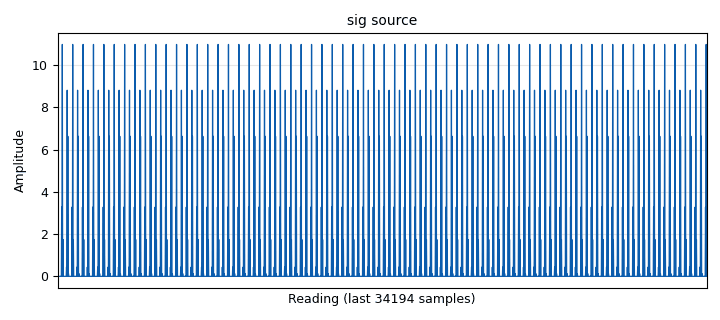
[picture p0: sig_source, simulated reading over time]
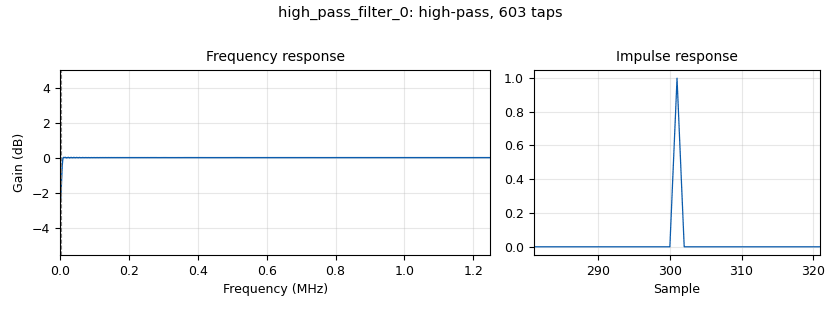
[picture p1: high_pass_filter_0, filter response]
<?xml version='1.0' encoding='utf-8'?>
<?grc format='1' created='3.7.10'?>
<flow_graph>
<block>
<key>options</key>
<param><key>id</key><value>top_block</value></param>
<param><key>category</key><value>Custom</value></param>
<param><key>generate_options</key><value>wx_gui</value></param>
</block>
<block>
<key>variable</key>
<param><key>id</key><value>fft1</value></param>
<param><key>value</key><value>128</value></param>
</block>
<block>
<key>variable</key>
<param><key>id</key><value>samp_rate</value></param>
<param><key>value</key><value>2.5e6</value></param>
</block>
<block>
<key>wxgui_numbersink2</key>
<param><key>id</key><value>actual_data</value></param>
<param><key>avg_alpha</key><value>0</value></param>
<param><key>average</key><value>False</value></param>
<param><key>decimal_places</key><value>5</value></param>
<param><key>factor</key><value>1.0</value></param>
<param><key>max_value</key><value>100</value></param>
<param><key>min_value</key><value>-100</value></param>
<param><key>number_rate</key><value>15</value></param>
<param><key>peak_hold</key><value>True</value></param>
<param><key>ref_level</key><value>0</value></param>
<param><key>samp_rate</key><value>samp_rate</value></param>
<param><key>show_gauge</key><value>True</value></param>
<param><key>title</key><value>actual</value></param>
<param><key>type</key><value>float</value></param>
<param><key>units</key><value>Units</value></param>
</block>
<block>
<key>analog_sig_source_x</key>
<param><key>id</key><value>analog_sig_source_x_0</value></param>
<param><key>amp</key><value>1</value></param>
<param><key>freq</key><value>467.563e6</value></param>
<param><key>offset</key><value>0</value></param>
<param><key>type</key><value>complex</value></param>
<param><key>samp_rate</key><value>samp_rate</value></param>
<param><key>waveform</key><value>analog.GR_SIN_WAVE</value></param>
</block>
<block>
<key>blocks_complex_to_arg</key>
<param><key>id</key><value>blocks_complex_to_arg_0</value></param>
</block>
<block>
<key>blocks_complex_to_arg</key>
<param><key>id</key><value>blocks_complex_to_arg_0_0</value></param>
</block>
<block>
<key>blocks_complex_to_mag</key>
<param><key>id</key><value>blocks_complex_to_mag_0</value></param>
</block>
<block>
<key>blocks_complex_to_mag</key>
<param><key>id</key><value>blocks_complex_to_mag_0_0</value></param>
</block>
<block>
<key>blocks_keep_one_in_n</key>
<param><key>id</key><value>blocks_keep_one_in_n_0</value></param>
<param><key>type</key><value>complex</value></param>
</block>
<block>
<key>blocks_keep_one_in_n</key>
<param><key>id</key><value>blocks_keep_one_in_n_0_0</value></param>
<param><key>type</key><value>complex</value></param>
</block>
<block>
<key>blocks_skiphead</key>
<param><key>id</key><value>blocks_skiphead_0</value></param>
<param><key>num_items</key><value>9</value></param>
<param><key>type</key><value>complex</value></param>
</block>
<block>
<key>blocks_skiphead</key>
<param><key>id</key><value>blocks_skiphead_0_0</value></param>
<param><key>num_items</key><value>9</value></param>
<param><key>type</key><value>complex</value></param>
</block>
<block>
<key>blocks_stream_to_vector</key>
<param><key>id</key><value>blocks_stream_to_vector_0</value></param>
<param><key>type</key><value>complex</value></param>
<param><key>num_items</key><value>fft1</value></param>
</block>
<block>
<key>blocks_stream_to_vector</key>
<param><key>id</key><value>blocks_stream_to_vector_0_0</value></param>
<param><key>type</key><value>complex</value></param>
<param><key>num_items</key><value>32</value></param>
</block>
<block>
<key>blocks_sub_xx</key>
<param><key>id</key><value>blocks_sub_xx_0</value></param>
<param><key>type</key><value>int</value></param>
</block>
<block>
<key>blocks_throttle</key>
<param><key>id</key><value>blocks_throttle_0</value></param>
<param><key>samples_per_second</key><value>samp_rate</value></param>
<param><key>type</key><value>complex</value></param>
</block>
<block>
<key>blocks_vector_to_stream</key>
<param><key>id</key><value>blocks_vector_to_stream_0</value></param>
<param><key>type</key><value>complex</value></param>
<param><key>num_items</key><value>fft1</value></param>
</block>
<block>
<key>blocks_vector_to_stream</key>
<param><key>id</key><value>blocks_vector_to_stream_0_0</value></param>
<param><key>type</key><value>complex</value></param>
<param><key>num_items</key><value>32</value></param>
</block>
<block>
<key>fft_vxx</key>
<param><key>id</key><value>fft_vxx_0</value></param>
<param><key>fft_size</key><value>128</value></param>
<param><key>forward</key><value>True</value></param>
<param><key>type</key><value>complex</value></param>
<param><key>shift</key><value>True</value></param>
<param><key>window</key><value>window.blackmanharris(128)</value></param>
</block>
<block>
<key>fft_vxx</key>
<param><key>id</key><value>fft_vxx_0_0</value></param>
<param><key>fft_size</key><value>32</value></param>
<param><key>forward</key><value>True</value></param>
<param><key>type</key><value>complex</value></param>
<param><key>shift</key><value>True</value></param>
<param><key>window</key><value>window.blackmanharris(32)</value></param>
</block>
<block>
<key>high_pass_filter</key>
<param><key>id</key><value>high_pass_filter_0</value></param>
<param><key>cutoff_freq</key><value>1000</value></param>
<param><key>decim</key><value>1</value></param>
<param><key>type</key><value>fir_filter_ccf</value></param>
<param><key>gain</key><value>1</value></param>
<param><key>samp_rate</key><value>samp_rate</value></param>
<param><key>width</key><value>10000</value></param>
<param><key>win</key><value>firdes.WIN_HAMMING</value></param>
</block>
<block>
<key>wxgui_numbersink2</key>
<param><key>id</key><value>phase</value></param>
<param><key>avg_alpha</key><value>0</value></param>
<param><key>average</key><value>False</value></param>
<param><key>decimal_places</key><value>10</value></param>
<param><key>factor</key><value>1.0</value></param>
<param><key>max_value</key><value>100</value></param>
<param><key>min_value</key><value>-100</value></param>
<param><key>number_rate</key><value>15</value></param>
<param><key>peak_hold</key><value>False</value></param>
<param><key>ref_level</key><value>0</value></param>
<param><key>samp_rate</key><value>samp_rate</value></param>
<param><key>show_gauge</key><value>True</value></param>
<param><key>title</key><value>Number Plot</value></param>
<param><key>type</key><value>float</value></param>
<param><key>units</key><value>Units</value></param>
</block>
<block>
<key>rtlsdr_source</key>
<param><key>id</key><value>rtlsdr_source_0</value></param>
<param><key>bb_gain0</key><value>20</value></param>
<param><key>dc_offset_mode0</key><value>1</value></param>
<param><key>freq0</key><value>467.562e6</value></param>
<param><key>gain_mode0</key><value>False</value></param>
<param><key>if_gain0</key><value>20</value></param>
<param><key>gain0</key><value>10</value></param>
<param><key>args</key><value></value></param>
<param><key>type</key><value>fc32</value></param>
<param><key>sample_rate</key><value>samp_rate</value></param>
<param><key>sync</key><value></value></param>
</block>
<block>
<key>wxgui_numbersink2</key>
<param><key>id</key><value>sig_source</value></param>
<param><key>avg_alpha</key><value>0</value></param>
<param><key>average</key><value>False</value></param>
<param><key>decimal_places</key><value>5</value></param>
<param><key>factor</key><value>1.0</value></param>
<param><key>max_value</key><value>100</value></param>
<param><key>min_value</key><value>-100</value></param>
<param><key>number_rate</key><value>15</value></param>
<param><key>peak_hold</key><value>True</value></param>
<param><key>ref_level</key><value>0</value></param>
<param><key>samp_rate</key><value>samp_rate</value></param>
<param><key>show_gauge</key><value>True</value></param>
<param><key>title</key><value>sig source</value></param>
<param><key>type</key><value>float</value></param>
<param><key>units</key><value>Units</value></param>
</block>
<block>
<key>wxgui_fftsink2</key>
<param><key>id</key><value>wxgui_fftsink2_0</value></param>
<param><key>avg_alpha</key><value>0</value></param>
<param><key>average</key><value>False</value></param>
<param><key>baseband_freq</key><value>467.563e6</value></param>
<param><key>_enabled</key><value>0</value></param>
<param><key>fft_size</key><value>1024</value></param>
<param><key>freqvar</key><value>None</value></param>
<param><key>peak_hold</key><value>False</value></param>
<param><key>ref_level</key><value>0</value></param>
<param><key>ref_scale</key><value>2.0</value></param>
<param><key>fft_rate</key><value>15</value></param>
<param><key>samp_rate</key><value>467.563e6</value></param>
<param><key>title</key><value>FFT Plot</value></param>
<param><key>type</key><value>complex</value></param>
<param><key>win</key><value>None</value></param>
<param><key>y_divs</key><value>10</value></param>
<param><key>y_per_div</key><value>10</value></param>
</block>
<connection><source_block_id>analog_sig_source_x_0</source_block_id><sink_block_id>blocks_stream_to_vector_0_0</sink_block_id><source_key>0</source_key><sink_key>0</sink_key></connection>
<connection><source_block_id>blocks_complex_to_arg_0</source_block_id><sink_block_id>blocks_sub_xx_0</sink_block_id><source_key>0</source_key><sink_key>0</sink_key></connection>
<connection><source_block_id>blocks_complex_to_arg_0_0</source_block_id><sink_block_id>blocks_sub_xx_0</sink_block_id><source_key>0</source_key><sink_key>1</sink_key></connection>
<connection><source_block_id>blocks_complex_to_mag_0</source_block_id><sink_block_id>actual_data</sink_block_id><source_key>0</source_key><sink_key>0</sink_key></connection>
<connection><source_block_id>blocks_complex_to_mag_0_0</source_block_id><sink_block_id>sig_source</sink_block_id><source_key>0</source_key><sink_key>0</sink_key></connection>
<connection><source_block_id>blocks_keep_one_in_n_0</source_block_id><sink_block_id>blocks_complex_to_arg_0</sink_block_id><source_key>0</source_key><sink_key>0</sink_key></connection>
<connection><source_block_id>blocks_keep_one_in_n_0</source_block_id><sink_block_id>blocks_complex_to_mag_0</sink_block_id><source_key>0</source_key><sink_key>0</sink_key></connection>
<connection><source_block_id>blocks_keep_one_in_n_0_0</source_block_id><sink_block_id>blocks_complex_to_arg_0_0</sink_block_id><source_key>0</source_key><sink_key>0</sink_key></connection>
<connection><source_block_id>blocks_keep_one_in_n_0_0</source_block_id><sink_block_id>blocks_complex_to_mag_0_0</sink_block_id><source_key>0</source_key><sink_key>0</sink_key></connection>
<connection><source_block_id>blocks_skiphead_0</source_block_id><sink_block_id>blocks_keep_one_in_n_0</sink_block_id><source_key>0</source_key><sink_key>0</sink_key></connection>
<connection><source_block_id>blocks_skiphead_0_0</source_block_id><sink_block_id>blocks_keep_one_in_n_0_0</sink_block_id><source_key>0</source_key><sink_key>0</sink_key></connection>
<connection><source_block_id>blocks_stream_to_vector_0</source_block_id><sink_block_id>fft_vxx_0</sink_block_id><source_key>0</source_key><sink_key>0</sink_key></connection>
<connection><source_block_id>blocks_stream_to_vector_0_0</source_block_id><sink_block_id>fft_vxx_0_0</sink_block_id><source_key>0</source_key><sink_key>0</sink_key></connection>
<connection><source_block_id>blocks_sub_xx_0</source_block_id><sink_block_id>phase</sink_block_id><source_key>0</source_key><sink_key>0</sink_key></connection>
<connection><source_block_id>blocks_throttle_0</source_block_id><sink_block_id>blocks_stream_to_vector_0</sink_block_id><source_key>0</source_key><sink_key>0</sink_key></connection>
<connection><source_block_id>blocks_vector_to_stream_0</source_block_id><sink_block_id>blocks_skiphead_0</sink_block_id><source_key>0</source_key><sink_key>0</sink_key></connection>
<connection><source_block_id>blocks_vector_to_stream_0_0</source_block_id><sink_block_id>blocks_skiphead_0_0</sink_block_id><source_key>0</source_key><sink_key>0</sink_key></connection>
<connection><source_block_id>fft_vxx_0</source_block_id><sink_block_id>blocks_vector_to_stream_0</sink_block_id><source_key>0</source_key><sink_key>0</sink_key></connection>
<connection><source_block_id>fft_vxx_0_0</source_block_id><sink_block_id>blocks_vector_to_stream_0_0</sink_block_id><source_key>0</source_key><sink_key>0</sink_key></connection>
<connection><source_block_id>high_pass_filter_0</source_block_id><sink_block_id>blocks_throttle_0</sink_block_id><source_key>0</source_key><sink_key>0</sink_key></connection>
<connection><source_block_id>rtlsdr_source_0</source_block_id><sink_block_id>high_pass_filter_0</sink_block_id><source_key>0</source_key><sink_key>0</sink_key></connection>
<connection><source_block_id>rtlsdr_source_0</source_block_id><sink_block_id>wxgui_fftsink2_0</sink_block_id><source_key>0</source_key><sink_key>0</sink_key></connection>
</flow_graph>
